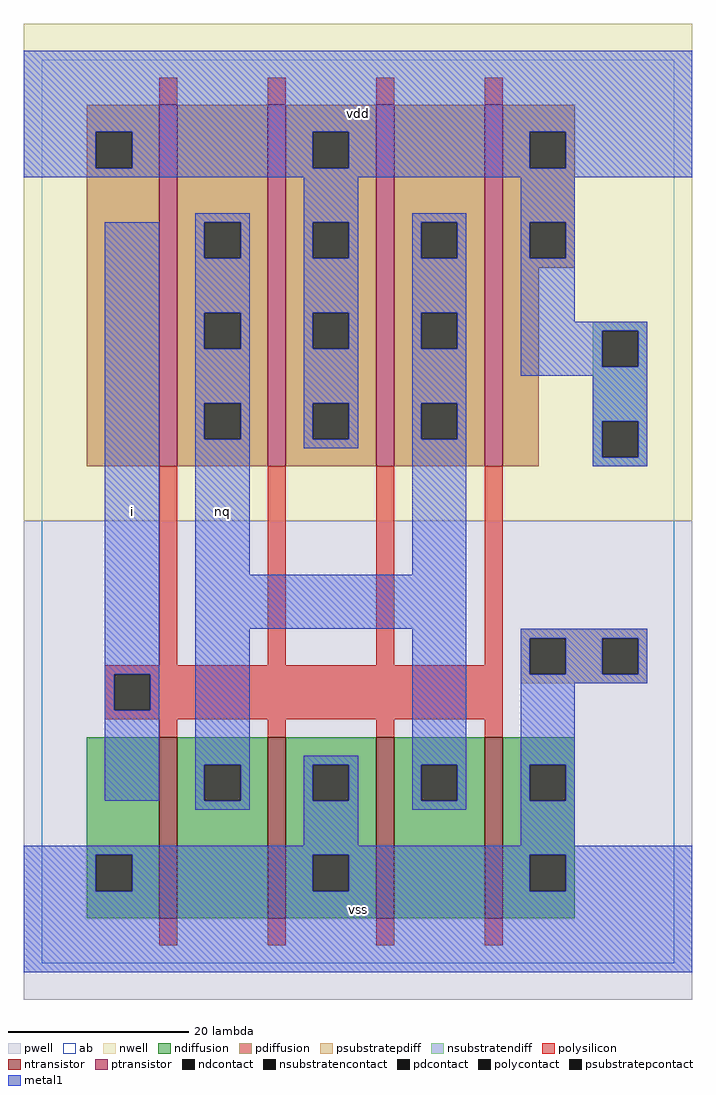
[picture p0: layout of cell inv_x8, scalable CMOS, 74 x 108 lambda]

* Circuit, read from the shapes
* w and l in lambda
.subckt inv_x8 i nq vdd vss
M1 nq i vss vss nfet w=20 l=2 m=4
M2 nq i vdd vdd pfet w=40 l=2 m=4
.ends

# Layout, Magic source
magic
tech scmos
<< ab >>
rect 0 0 70 100
<< pwell >>
rect -2 -4 72 49
<< nwell >>
rect -2 49 72 104
<< polysilicon >>
rect 13 95 15 98
rect 25 95 27 98
rect 37 95 39 98
rect 49 95 51 98
rect 13 33 15 55
rect 25 33 27 55
rect 37 33 39 55
rect 49 33 51 55
rect 7 32 51 33
rect 7 28 8 32
rect 12 28 51 32
rect 7 27 51 28
rect 13 25 15 27
rect 25 25 27 27
rect 37 25 39 27
rect 49 25 51 27
rect 13 2 15 5
rect 25 2 27 5
rect 37 2 39 5
rect 49 2 51 5
<< ndiffusion >>
rect 5 12 13 25
rect 5 8 6 12
rect 10 8 13 12
rect 5 5 13 8
rect 15 22 25 25
rect 15 18 18 22
rect 22 18 25 22
rect 15 5 25 18
rect 27 22 37 25
rect 27 18 30 22
rect 34 18 37 22
rect 27 12 37 18
rect 27 8 30 12
rect 34 8 37 12
rect 27 5 37 8
rect 39 22 49 25
rect 39 18 42 22
rect 46 18 49 22
rect 39 5 49 18
rect 51 22 59 25
rect 51 18 54 22
rect 58 18 59 22
rect 51 12 59 18
rect 51 8 54 12
rect 58 8 59 12
rect 51 5 59 8
<< pdiffusion >>
rect 5 92 13 95
rect 5 88 6 92
rect 10 88 13 92
rect 5 55 13 88
rect 15 82 25 95
rect 15 78 18 82
rect 22 78 25 82
rect 15 72 25 78
rect 15 68 18 72
rect 22 68 25 72
rect 15 62 25 68
rect 15 58 18 62
rect 22 58 25 62
rect 15 55 25 58
rect 27 92 37 95
rect 27 88 30 92
rect 34 88 37 92
rect 27 82 37 88
rect 27 78 30 82
rect 34 78 37 82
rect 27 72 37 78
rect 27 68 30 72
rect 34 68 37 72
rect 27 62 37 68
rect 27 58 30 62
rect 34 58 37 62
rect 27 55 37 58
rect 39 82 49 95
rect 39 78 42 82
rect 46 78 49 82
rect 39 72 49 78
rect 39 68 42 72
rect 46 68 49 72
rect 39 62 49 68
rect 39 58 42 62
rect 46 58 49 62
rect 39 55 49 58
rect 51 92 59 95
rect 51 88 54 92
rect 58 88 59 92
rect 51 82 59 88
rect 51 78 54 82
rect 58 78 59 82
rect 51 77 59 78
rect 51 55 55 77
<< metal1 >>
rect -2 92 72 101
rect -2 88 6 92
rect 10 88 30 92
rect 34 88 54 92
rect 58 88 72 92
rect -2 87 72 88
rect 17 82 23 83
rect 7 32 13 82
rect 7 28 8 32
rect 12 28 13 32
rect 7 18 13 28
rect 17 78 18 82
rect 22 78 23 82
rect 17 72 23 78
rect 17 68 18 72
rect 22 68 23 72
rect 17 62 23 68
rect 17 58 18 62
rect 22 58 23 62
rect 17 43 23 58
rect 29 82 35 87
rect 29 78 30 82
rect 34 78 35 82
rect 29 72 35 78
rect 29 68 30 72
rect 34 68 35 72
rect 29 62 35 68
rect 29 58 30 62
rect 34 58 35 62
rect 29 57 35 58
rect 41 82 47 83
rect 41 78 42 82
rect 46 78 47 82
rect 41 72 47 78
rect 41 68 42 72
rect 46 68 47 72
rect 41 62 47 68
rect 53 82 59 87
rect 53 78 54 82
rect 58 78 59 82
rect 53 71 59 78
rect 53 70 67 71
rect 53 66 62 70
rect 66 66 67 70
rect 53 65 67 66
rect 41 58 42 62
rect 46 58 47 62
rect 41 43 47 58
rect 61 60 67 65
rect 61 56 62 60
rect 66 56 67 60
rect 61 55 67 56
rect 17 37 47 43
rect 17 22 23 37
rect 17 18 18 22
rect 22 18 23 22
rect 17 17 23 18
rect 29 22 35 23
rect 29 18 30 22
rect 34 18 35 22
rect 29 13 35 18
rect 41 22 47 37
rect 41 18 42 22
rect 46 18 47 22
rect 41 17 47 18
rect 53 36 67 37
rect 53 32 54 36
rect 58 32 62 36
rect 66 32 67 36
rect 53 31 67 32
rect 53 22 59 31
rect 53 18 54 22
rect 58 18 59 22
rect 53 13 59 18
rect -2 12 72 13
rect -2 8 6 12
rect 10 8 30 12
rect 34 8 54 12
rect 58 8 72 12
rect -2 -1 72 8
<< ntransistor >>
rect 13 5 15 25
rect 25 5 27 25
rect 37 5 39 25
rect 49 5 51 25
<< ptransistor >>
rect 13 55 15 95
rect 25 55 27 95
rect 37 55 39 95
rect 49 55 51 95
<< polycontact >>
rect 8 28 12 32
<< ndcontact >>
rect 6 8 10 12
rect 18 18 22 22
rect 30 18 34 22
rect 30 8 34 12
rect 42 18 46 22
rect 54 18 58 22
rect 54 8 58 12
<< pdcontact >>
rect 6 88 10 92
rect 18 78 22 82
rect 18 68 22 72
rect 18 58 22 62
rect 30 88 34 92
rect 30 78 34 82
rect 30 68 34 72
rect 30 58 34 62
rect 42 78 46 82
rect 42 68 46 72
rect 42 58 46 62
rect 54 88 58 92
rect 54 78 58 82
<< psubstratepcontact >>
rect 54 32 58 36
rect 62 32 66 36
<< nsubstratencontact >>
rect 62 66 66 70
rect 62 56 66 60
<< psubstratepdiff >>
rect 53 36 67 37
rect 53 32 54 36
rect 58 32 62 36
rect 66 32 67 36
rect 53 31 67 32
<< nsubstratendiff >>
rect 61 70 67 71
rect 61 66 62 70
rect 66 66 67 70
rect 61 60 67 66
rect 61 56 62 60
rect 66 56 67 60
rect 61 55 67 56
<< labels >>
rlabel metal1 10 50 10 50 6 i
rlabel metal1 10 50 10 50 6 i
rlabel metal1 20 50 20 50 6 nq
rlabel metal1 20 50 20 50 6 nq
rlabel metal1 35 6 35 6 6 vss
rlabel metal1 35 6 35 6 6 vss
rlabel metal1 35 94 35 94 6 vdd
rlabel metal1 35 94 35 94 6 vdd
<< end >>
